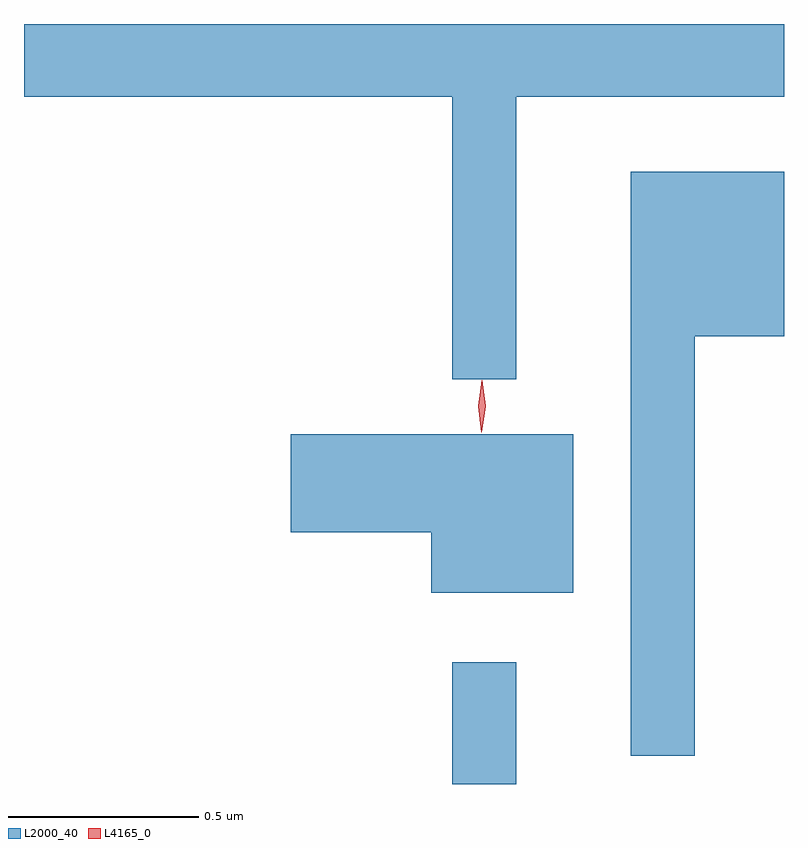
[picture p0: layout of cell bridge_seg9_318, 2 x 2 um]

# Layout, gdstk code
import gdstk
lib = gdstk.Library(unit=1e-6, precision=1e-09)
def R(c, l, rs):  # rectangles x0, y0, x1, y1
    for r in rs: c.add(gdstk.rectangle(r[:2], r[2:], *l))
def P(c, l, *ps):  # polygons
    for p in ps: c.add(gdstk.Polygon(p, *l))
L2000_40 = (2000, 40)
L4165_0 = (4165, 0)

bridge_seg9_318 = lib.new_cell('bridge_seg9_318')
R(bridge_seg9_318, L2000_40, [(966.821,2014.428,966.989,2014.748)])
P(bridge_seg9_318, L2000_40, [(966.989,2016.236),(967.694,2016.236),(967.694,2016.428),(965.694,2016.428),(965.694,2016.236),(966.821,2016.236),(966.821,2015.493),(966.989,2015.493)],
  [(967.459,2015.606),(967.694,2015.606),(967.694,2016.039),(967.291,2016.039),(967.291,2014.503),(967.459,2014.503)],
  [(967.139,2015.349),(966.396,2015.349),(966.396,2015.091),(966.766,2015.091),(966.766,2014.931),(967.139,2014.931)])
P(bridge_seg9_318, L4165_0, [(966.897,2015.354),(966.889,2015.422),(966.899,2015.49),(966.9,2015.49),(966.9,2015.49),(966.909,2015.422),(966.898,2015.354),(966.898,2015.354)],
  [(966.898,2015.36),(966.897,2015.361),(966.889,2015.424),(966.899,2015.486),(966.9,2015.487),(966.9,2015.486),(966.909,2015.423),(966.898,2015.361)])

lib.write_gds('bridge_seg9_318.gds')
